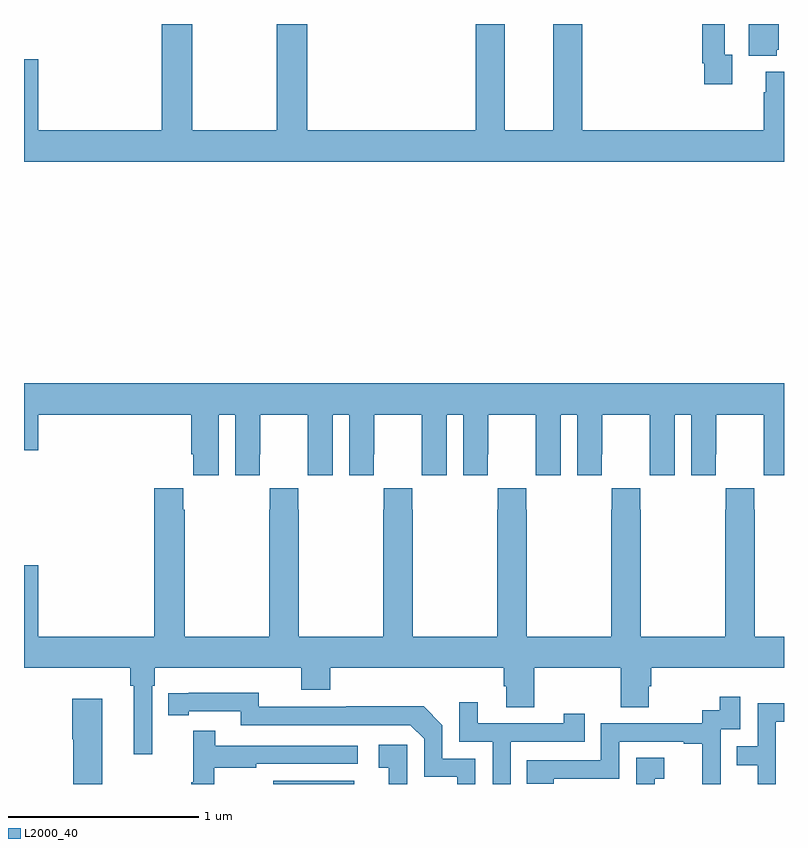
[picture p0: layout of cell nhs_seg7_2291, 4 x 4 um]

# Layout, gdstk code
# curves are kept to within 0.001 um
import gdstk
lib = gdstk.Library(unit=1e-6, precision=1e-09)
def R(c, l, rs):  # rectangles x0, y0, x1, y1
    for r in rs: c.add(gdstk.rectangle(r[:2], r[2:], *l))
def P(c, l, *ps):  # polygons
    for p in ps: c.add(gdstk.Polygon(p, *l))
L2000_40 = (2000, 40)

nhs_seg7_2291 = lib.new_cell('nhs_seg7_2291')
R(nhs_seg7_2291, L2000_40, [(262.311,1004,262.738,1004.017)])
P(nhs_seg7_2291, L2000_40, [(264.962,1007.865),(264.973,1007.865),(264.973,1008),(264.815,1008),(264.815,1007.834),(264.962,1007.834)],
  [(264.727,1007.838),(264.687,1007.838),(264.687,1008),(264.571,1008),(264.571,1007.794),(264.579,1007.794),(264.579,1007.682),(264.727,1007.682)],
  [(265,1007.749),(264.905,1007.749),(264.905,1007.642),(264.893,1007.642),(264.893,1007.44),(263.939,1007.44),(263.939,1008),(263.786,1008),(263.786,1007.44),(263.53,1007.44),(263.53,1008),(263.378,1008),(263.378,1007.44),(262.49,1007.44),(262.49,1008),(262.33,1008),(262.33,1007.44),(261.885,1007.44),(261.885,1008),(261.725,1008),(261.725,1007.44),(261.076,1007.44),(261.076,1007.815),(261,1007.815),(261,1007.276),(265,1007.276)],
  [(261,1005.756),(261.076,1005.756),(261.076,1005.944),(261.881,1005.944),(261.881,1005.736),(261.89,1005.736),(261.89,1005.624),(262.024,1005.624),(262.024,1005.944),(262.112,1005.944),(262.112,1005.624),(262.242,1005.624),(262.242,1005.736),(262.243,1005.736),(262.243,1005.944),(262.493,1005.944),(262.493,1005.736),(262.494,1005.736),(262.494,1005.624),(262.624,1005.624),(262.624,1005.944),(262.712,1005.944),(262.712,1005.624),(262.842,1005.624),(262.842,1005.736),(262.843,1005.736),(262.843,1005.944),(263.093,1005.944),(263.093,1005.736),(263.094,1005.736),(263.094,1005.624),(263.224,1005.624),(263.224,1005.944),(263.312,1005.944),(263.312,1005.624),(263.442,1005.624),(263.442,1005.736),(263.443,1005.736),(263.443,1005.944),(263.693,1005.944),(263.693,1005.736),(263.694,1005.736),(263.694,1005.624),(263.824,1005.624),(263.824,1005.944),(263.912,1005.944),(263.912,1005.624),(264.042,1005.624),(264.042,1005.736),(264.043,1005.736),(264.043,1005.944),(264.293,1005.944),(264.293,1005.736),(264.294,1005.736),(264.294,1005.624),(264.424,1005.624),(264.424,1005.944),(264.512,1005.944),(264.512,1005.624),(264.642,1005.624),(264.642,1005.736),(264.643,1005.736),(264.643,1005.944),(264.893,1005.944),(264.893,1005.736),(264.894,1005.736),(264.894,1005.624),(265,1005.624),(265,1006.108),(261,1006.108)],
  [(261.675,1004.516),(261.689,1004.516),(261.689,1004.612),(262.46,1004.612),(262.46,1004.495),(262.613,1004.495),(262.613,1004.612),(263.525,1004.612),(263.525,1004.514),(263.537,1004.514),(263.537,1004.404),(263.685,1004.404),(263.685,1004.612),(264.142,1004.612),(264.142,1004.404),(264.289,1004.404),(264.289,1004.514),(264.302,1004.514),(264.302,1004.612),(265,1004.612),(265,1004.776),(264.846,1004.776),(264.846,1005.443),(264.843,1005.443),(264.843,1005.556),(264.693,1005.556),(264.693,1005.443),(264.691,1005.443),(264.691,1004.776),(264.246,1004.776),(264.246,1005.443),(264.243,1005.443),(264.243,1005.556),(264.093,1005.556),(264.093,1005.443),(264.091,1005.443),(264.091,1004.776),(263.646,1004.776),(263.646,1005.443),(263.643,1005.443),(263.643,1005.556),(263.493,1005.556),(263.493,1005.443),(263.491,1005.443),(263.491,1004.776),(263.046,1004.776),(263.046,1005.443),(263.043,1005.443),(263.043,1005.556),(262.893,1005.556),(262.893,1005.443),(262.891,1005.443),(262.891,1004.776),(262.446,1004.776),(262.446,1005.443),(262.443,1005.443),(262.443,1005.556),(262.293,1005.556),(262.293,1005.443),(262.291,1005.443),(262.291,1004.776),(261.846,1004.776),(261.846,1005.443),(261.839,1005.443),(261.839,1005.556),(261.686,1005.556),(261.686,1004.776),(261.076,1004.776),(261.076,1005.151),(261,1005.151),(261,1004.612),(261.559,1004.612),(261.559,1004.516),(261.578,1004.516),(261.578,1004.157),(261.675,1004.157)],
  [(263.376,1004.133),(263.202,1004.133),(263.202,1004.31),(263.104,1004.408),(262.696,1004.408),(262.696,1004.406),(262.236,1004.406),(262.236,1004.479),(261.76,1004.478),(261.76,1004.362),(261.868,1004.362),(261.868,1004.382),(262.14,1004.382),(262.14,1004.31),(263.034,1004.31),(263.106,1004.238),(263.106,1004.037),(263.279,1004.037),(263.279,1004),(263.376,1004)],
  [(264.668,1004.06),(264.666,1004.06),(264.666,1004.289),(264.771,1004.289),(264.771,1004.458),(264.663,1004.458),(264.663,1004.388),(264.57,1004.388),(264.57,1004.319),(264.036,1004.319),(264.036,1004.124),(263.647,1004.124),(263.647,1004.001),(263.787,1004.001),(263.787,1004.028),(264.132,1004.028),(264.132,1004.223),(264.473,1004.223),(264.473,1004.211),(264.569,1004.211),(264.569,1004),(264.668,1004)],
  [(261.412,1004.449),(261.254,1004.449),(261.254,1004.236),(261.259,1004.236),(261.259,1004),(261.412,1004)],
  [(263.562,1004.223),(263.951,1004.223),(263.951,1004.371),(263.84,1004.371),(263.84,1004.319),(263.389,1004.319),(263.389,1004.431),(263.292,1004.431),(263.292,1004.223),(263.466,1004.223),(263.466,1004),(263.562,1004)],
  [(264.957,1004.328),(265,1004.328),(265,1004.424),(264.861,1004.424),(264.861,1004.199),(264.751,1004.199),(264.751,1004.098),(264.861,1004.098),(264.861,1004),(264.957,1004)],
  [(262,1004.086),(262.223,1004.086),(262.223,1004.106),(262.756,1004.106),(262.756,1004.202),(262.007,1004.202),(262.007,1004.281),(261.89,1004.281),(261.89,1004.009),(261.879,1004.009),(261.879,1004),(262,1004)],
  [(263.016,1004.206),(262.866,1004.206),(262.866,1004.085),(262.919,1004.085),(262.919,1004),(263.016,1004)],
  [(264.321,1004.027),(264.37,1004.027),(264.37,1004.137),(264.222,1004.137),(264.222,1004),(264.321,1004)])

lib.write_gds('nhs_seg7_2291.gds')
